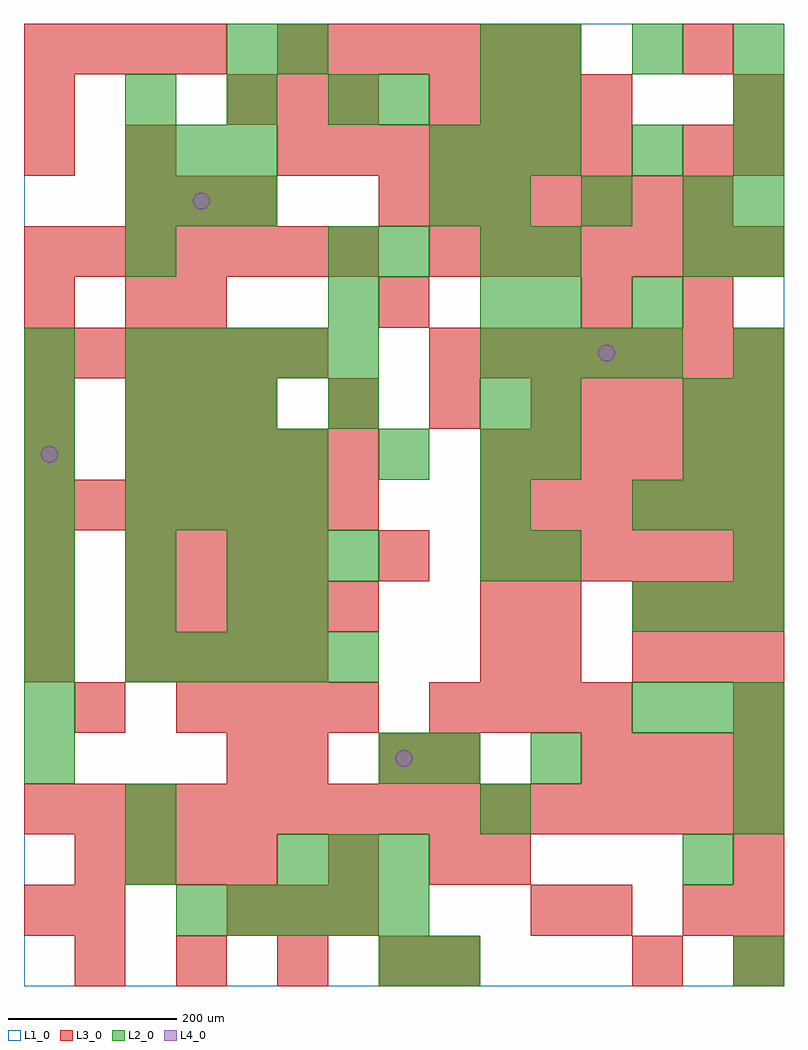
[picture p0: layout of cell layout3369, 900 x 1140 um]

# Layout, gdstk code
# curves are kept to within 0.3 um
import gdstk
lib = gdstk.Library(unit=1e-6, precision=1e-09)
def R(c, l, rs):  # rectangles x0, y0, x1, y1
    for r in rs: c.add(gdstk.rectangle(r[:2], r[2:], *l))
def A(c, l, x, y, w, h, nx, ny, dx, dy):  # array of equal rectangles
    R(c, l, [(x+i*dx, y+j*dy, x+i*dx+w, y+j*dy+h) for i in range(nx) for j in range(ny)])
def P(c, l, *ps):  # polygons
    for p in ps: c.add(gdstk.Polygon(p, *l))
L1_0 = (1, 0)
L2_0 = (2, 0)
L3_0 = (3, 0)
L4_0 = (4, 0)

layout3369 = lib.new_cell('layout3369')
R(layout3369, L1_0, [(0,0,900,1140)])
A(layout3369, L2_0, 180, 60, 60, 60, 5, 1, 60, 0)
A(layout3369, L2_0, 300, 120, 60, 60, 3, 1, 60, 0)
A(layout3369, L2_0, 0, 240, 60, 60, 1, 3, 0, 60)
A(layout3369, L2_0, 720, 300, 60, 60, 3, 3, 60, 120)
A(layout3369, L2_0, 120, 360, 60, 60, 5, 2, 60, 360)
A(layout3369, L2_0, 0, 420, 60, 60, 3, 2, 120, 60)
A(layout3369, L2_0, 540, 480, 60, 60, 1, 4, 0, 60)
A(layout3369, L2_0, 0, 540, 60, 60, 1, 4, 0, 60)
A(layout3369, L2_0, 120, 540, 60, 60, 4, 2, 60, 60)
A(layout3369, L2_0, 840, 600, 60, 60, 1, 3, 0, 60)
A(layout3369, L2_0, 120, 660, 60, 60, 3, 2, 60, 240)
A(layout3369, L2_0, 540, 720, 60, 60, 4, 1, 60, 0)
A(layout3369, L2_0, 840, 840, 60, 60, 1, 4, 0, 60)
A(layout3369, L2_0, 540, 900, 60, 60, 3, 1, 120, 0)
A(layout3369, L2_0, 120, 960, 60, 60, 3, 1, 60, 0)
A(layout3369, L2_0, 480, 960, 60, 60, 3, 1, 60, 0)
A(layout3369, L2_0, 120, 1020, 60, 60, 3, 1, 120, 0)
A(layout3369, L2_0, 600, 1080, 60, 60, 3, 1, 120, 0)
R(layout3369, L2_0, [(420,0,480,60), (480,0,540,60), (840,0,900,60), (120,120,180,180), (780,120,840,180), (120,180,180,240), (540,180,600,240), (840,180,900,240), (420,240,480,300), (480,240,540,300), (600,240,660,300), (840,240,900,300), (300,420,360,480), (300,480,360,540), (360,480,420,540), (600,480,660,540), (840,480,900,540), (420,600,480,660), (600,600,660,660), (780,600,840,660), (360,660,420,720), (600,660,660,720), (780,660,840,720), (360,780,420,840), (540,780,600,840), (600,780,660,840), (720,780,780,840), (120,840,180,900), (360,840,420,900), (420,840,480,900), (540,840,600,900), (600,840,660,900), (780,840,840,900), (480,900,540,960), (720,960,780,1020), (420,1020,480,1080), (540,1020,600,1080), (600,1020,660,1080), (240,1080,300,1140), (300,1080,360,1140), (540,1080,600,1140)])
A(layout3369, L3_0, 60, 0, 60, 60, 4, 1, 120, 0)
A(layout3369, L3_0, 480, 0, 60, 60, 1, 3, 0, 120)
A(layout3369, L3_0, 840, 0, 60, 60, 1, 3, 0, 60)
A(layout3369, L3_0, 240, 60, 60, 60, 3, 2, 60, 960)
A(layout3369, L3_0, 60, 120, 60, 60, 4, 1, 60, 0)
A(layout3369, L3_0, 0, 180, 60, 60, 15, 1, 60, 0)
A(layout3369, L3_0, 660, 240, 60, 60, 4, 2, 60, 420)
A(layout3369, L3_0, 180, 300, 60, 60, 4, 1, 60, 0)
A(layout3369, L3_0, 480, 300, 60, 60, 4, 2, 60, 720)
A(layout3369, L3_0, 0, 360, 60, 60, 1, 3, 0, 60)
A(layout3369, L3_0, 120, 360, 60, 60, 4, 2, 60, 120)
A(layout3369, L3_0, 720, 360, 60, 60, 3, 2, 60, 60)
A(layout3369, L3_0, 120, 420, 60, 60, 5, 2, 60, 180)
A(layout3369, L3_0, 540, 480, 60, 60, 6, 3, 60, 60)
A(layout3369, L3_0, 0, 540, 60, 60, 7, 2, 60, 300)
A(layout3369, L3_0, 120, 660, 60, 60, 3, 2, 60, 240)
A(layout3369, L3_0, 360, 660, 60, 60, 3, 1, 120, 0)
A(layout3369, L3_0, 0, 720, 60, 60, 6, 1, 60, 0)
A(layout3369, L3_0, 480, 720, 60, 60, 7, 2, 60, 120)
A(layout3369, L3_0, 180, 780, 60, 60, 3, 1, 240, 0)
A(layout3369, L3_0, 420, 900, 60, 60, 7, 1, 60, 0)
A(layout3369, L3_0, 300, 960, 60, 60, 7, 1, 60, 0)
A(layout3369, L3_0, 0, 1080, 60, 60, 4, 1, 60, 0)
A(layout3369, L3_0, 300, 1080, 60, 60, 6, 1, 60, 0)
R(layout3369, L3_0, [(720,0,780,60), (0,60,60,120), (60,60,120,120), (600,60,660,120), (660,60,720,120), (780,60,840,120), (360,120,420,180), (540,120,600,180), (240,240,300,300), (300,240,360,300), (420,240,480,300), (60,300,120,360), (840,300,900,360), (540,360,600,420), (600,360,660,420), (540,420,600,480), (600,420,660,480), (420,480,480,540), (0,600,60,660), (0,660,60,720), (0,780,60,840), (120,780,180,840), (780,780,840,840), (0,960,60,1020), (120,960,180,1020), (780,960,840,1020), (840,960,900,1020), (0,1020,60,1080), (840,1020,900,1080), (780,1080,840,1140)])
P(layout3369, L4_0, [(40,630),(39.239,633.827),(37.071,637.071),(33.827,639.239),(30,640),(26.173,639.239),(22.929,637.071),(20.761,633.827),(20,630),(20.761,626.173),(22.929,622.929),(26.173,620.761),(30,620),(33.827,620.761),(37.071,622.929),(39.239,626.173)],
  [(220,930),(219.239,933.827),(217.071,937.071),(213.827,939.239),(210,940),(206.173,939.239),(202.929,937.071),(200.761,933.827),(200,930),(200.761,926.173),(202.929,922.929),(206.173,920.761),(210,920),(213.827,920.761),(217.071,922.929),(219.239,926.173)],
  [(460,270),(459.239,273.827),(457.071,277.071),(453.827,279.239),(450,280),(446.173,279.239),(442.929,277.071),(440.761,273.827),(440,270),(440.761,266.173),(442.929,262.929),(446.173,260.761),(450,260),(453.827,260.761),(457.071,262.929),(459.239,266.173)],
  [(700,750),(699.239,753.827),(697.071,757.071),(693.827,759.239),(690,760),(686.173,759.239),(682.929,757.071),(680.761,753.827),(680,750),(680.761,746.173),(682.929,742.929),(686.173,740.761),(690,740),(693.827,740.761),(697.071,742.929),(699.239,746.173)])

lib.write_gds('layout3369.gds')
